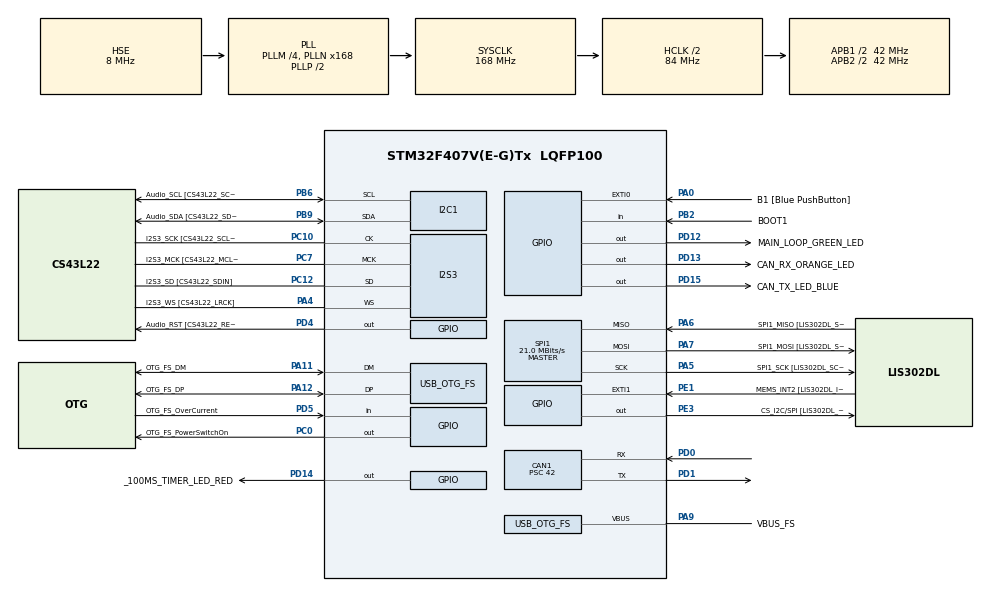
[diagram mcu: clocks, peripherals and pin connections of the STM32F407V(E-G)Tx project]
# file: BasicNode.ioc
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CAN1.BS1=CAN_BS1_3TQ
CAN1.BS2=CAN_BS2_4TQ
CAN1.CalculateBaudRate=125000
CAN1.CalculateTimeBit=8000
CAN1.CalculateTimeQuantum=1000.0
CAN1.Mode=CAN_MODE_NORMAL
CAN1.Prescaler=42
I2S3.AudioFreq=I2S_AUDIOFREQ_48K
I2S3.AudioFreq-Half_Duplex_Master=I2S_AUDIOFREQ_96K
I2S3.ErrorAudioFreq=1.72 %
I2S3.ErrorAudioFreq-Half_Duplex_Master=0.8 %
I2S3.FullDuplexMode=I2S_FULLDUPLEXMODE_DISABLE
I2S3.Instance=SPI$Index
I2S3.RealAudioFreq=48.828 KHz
I2S3.RealAudioFreq-Half_Duplex_Master=96.774 KHz
I2S3.VirtualMode=I2S_MODE_MASTER
Mcu.Family=STM32F4
Mcu.Name=STM32F407V(E-G)Tx
Mcu.Package=LQFP100
NVIC.CAN1_RX0_IRQn=true\:0\:0\:false\:false\:true\:true\:true\:true
NVIC.CAN1_RX1_IRQn=true\:0\:0\:false\:false\:true\:true\:true\:true
NVIC.CAN1_TX_IRQn=true\:0\:0\:false\:false\:true\:true\:true\:true
NVIC.OTG_FS_IRQn=true\:0\:0\:false\:false\:true\:true\:true\:true
NVIC.PriorityGroup=NVIC_PRIORITYGROUP_0
NVIC.TIM7_IRQn=true\:0\:0\:false\:false\:true\:true\:true\:true
PA0-WKUP.GPIO_Label=B1 [Blue PushButton]
PA0-WKUP.GPIO_ModeDefaultEXTI=GPIO_MODE_EVT_RISING
PA0-WKUP.GPIO_PuPd=GPIO_NOPULL
PA0-WKUP.Signal=GPXTI0
PA10.GPIO_Label=OTG_FS_ID
PA10.GPIO_Mode=GPIO_MODE_AF_PP
PA10.GPIO_PuPd=GPIO_NOPULL
PA10.GPIO_Speed=GPIO_SPEED_FREQ_LOW
PA10.Signal=USB_OTG_FS_ID
PA11.GPIO_Label=OTG_FS_DM
PA11.GPIO_Mode=GPIO_MODE_AF_PP
PA11.GPIO_PuPd=GPIO_NOPULL
PA11.GPIO_Speed=GPIO_SPEED_FREQ_LOW
PA11.Mode=Host_Only
PA11.Signal=USB_OTG_FS_DM
PA12.GPIO_Label=OTG_FS_DP
PA12.GPIO_Mode=GPIO_MODE_AF_PP
PA12.GPIO_PuPd=GPIO_NOPULL
PA12.GPIO_Speed=GPIO_SPEED_FREQ_LOW
PA12.Mode=Host_Only
PA12.Signal=USB_OTG_FS_DP
PA13.GPIO_Label=SWDIO
PA13.Mode=Serial_Wire
PA13.Signal=SYS_JTMS-SWDIO
PA14.GPIO_Label=SWCLK
PA14.Mode=Serial_Wire
PA14.Signal=SYS_JTCK-SWCLK
PA4.GPIO_Label=I2S3_WS [CS43L22_LRCK]
PA4.GPIO_Mode=GPIO_MODE_AF_PP
PA4.GPIO_PuPd=GPIO_NOPULL
PA4.GPIO_Speed=GPIO_SPEED_FREQ_LOW
PA4.Mode=Half_Duplex_Master
PA4.Signal=I2S3_WS
PA5.GPIO_Label=SPI1_SCK [LIS302DL_SCL/SPC]
PA5.GPIO_Mode=GPIO_MODE_AF_PP
PA5.GPIO_PuPd=GPIO_NOPULL
PA5.GPIO_Speed=GPIO_SPEED_FREQ_LOW
PA5.Mode=Full_Duplex_Master
PA5.Signal=SPI1_SCK
PA6.GPIO_Label=SPI1_MISO [LIS302DL_SDO]
PA6.GPIO_Mode=GPIO_MODE_AF_PP
PA6.GPIO_PuPd=GPIO_NOPULL
PA6.GPIO_Speed=GPIO_SPEED_FREQ_LOW
PA6.Mode=Full_Duplex_Master
PA6.Signal=SPI1_MISO
PA7.GPIO_Label=SPI1_MOSI [LIS302DL_SDA/SDI/SDO]
PA7.GPIO_Mode=GPIO_MODE_AF_PP
PA7.GPIO_PuPd=GPIO_NOPULL
PA7.GPIO_Speed=GPIO_SPEED_FREQ_LOW
PA7.Mode=Full_Duplex_Master
PA7.Signal=SPI1_MOSI
PA9.GPIO_Label=VBUS_FS
PA9.GPIO_Mode=GPIO_MODE_INPUT
PA9.GPIO_PuPd=GPIO_NOPULL
PA9.Mode=Activate_VBUS
PA9.Signal=USB_OTG_FS_VBUS
PB10.GPIO_Label=CLK_IN [MP45DT02_CLK]
PB10.GPIO_Mode=GPIO_MODE_AF_PP
PB10.GPIO_PuPd=GPIO_NOPULL
PB10.GPIO_Speed=GPIO_SPEED_FREQ_LOW
PB10.Signal=I2S2_CK
PB2.GPIO_Label=BOOT1
PB2.GPIO_Mode=GPIO_MODE_INPUT
PB2.GPIO_PuPd=GPIO_NOPULL
PB2.Signal=GPIO_Input
PB3.GPIO_Label=SWO
PB3.Signal=SYS_JTDO-SWO
PB6.GPIO_Label=Audio_SCL [CS43L22_SCL]
PB6.GPIO_Mode=GPIO_MODE_AF_OD
PB6.GPIO_Pu=GPIO_PULLUP
PB6.GPIO_PuPd=GPIO_NOPULL
PB6.GPIO_Speed=GPIO_SPEED_FREQ_LOW
PB6.Mode=I2C
PB6.Signal=I2C1_SCL
PB9.GPIO_Label=Audio_SDA [CS43L22_SDA]
PB9.GPIO_Mode=GPIO_MODE_AF_OD
PB9.GPIO_Pu=GPIO_PULLUP
PB9.GPIO_PuPd=GPIO_NOPULL
PB9.GPIO_Speed=GPIO_SPEED_FREQ_LOW
PB9.Mode=I2C
PB9.Signal=I2C1_SDA
PC0.GPIO_Label=OTG_FS_PowerSwitchOn
PC0.GPIO_PuPd=GPIO_NOPULL
PC0.GPIO_Speed=GPIO_SPEED_FREQ_LOW
PC0.PinState=GPIO_PIN_SET
PC0.Signal=GPIO_Output
PC10.GPIO_Label=I2S3_SCK [CS43L22_SCLK]
PC10.GPIO_Mode=GPIO_MODE_AF_PP
PC10.GPIO_PuPd=GPIO_NOPULL
PC10.GPIO_Speed=GPIO_SPEED_FREQ_LOW
PC10.Mode=Half_Duplex_Master
PC10.Signal=I2S3_CK
PC12.GPIO_Label=I2S3_SD [CS43L22_SDIN]
PC12.GPIO_Mode=GPIO_MODE_AF_PP
PC12.GPIO_PuPd=GPIO_NOPULL
PC12.GPIO_Speed=GPIO_SPEED_FREQ_LOW
PC12.Mode=Half_Duplex_Master
PC12.Signal=I2S3_SD
PC14-OSC32_IN.GPIO_Label=PC14-OSC32_IN
PC14-OSC32_IN.Mode=LSE-External-Oscillator
PC14-OSC32_IN.Signal=RCC_OSC32_IN
PC15-OSC32_OUT.GPIO_Label=PC15-OSC32_OUT
PC15-OSC32_OUT.Mode=LSE-External-Oscillator
PC15-OSC32_OUT.Signal=RCC_OSC32_OUT
PC3.GPIO_Label=PDM_OUT [MP45DT02_DOUT]
PC3.GPIO_Mode=GPIO_MODE_AF_PP
PC3.GPIO_PuPd=GPIO_NOPULL
PC3.GPIO_Speed=GPIO_SPEED_FREQ_LOW
PC3.Signal=I2S2_SD
PC7.GPIO_Label=I2S3_MCK [CS43L22_MCLK]
PC7.GPIO_Mode=GPIO_MODE_AF_PP
PC7.GPIO_PuPd=GPIO_NOPULL
PC7.GPIO_Speed=GPIO_SPEED_FREQ_LOW
PC7.Mode=Master_Clock_Activated
PC7.Signal=I2S3_MCK
PD0.Mode=CAN_Activate
PD0.Signal=CAN1_RX
PD1.Mode=CAN_Activate
PD1.Signal=CAN1_TX
PD12.GPIO_Label=MAIN_LOOP_GREEN_LED
PD12.GPIO_PuPd=GPIO_NOPULL
PD12.GPIO_Speed=GPIO_SPEED_FREQ_LOW
PD12.Signal=GPIO_Output
PD13.GPIO_Label=CAN_RX_ORANGE_LED
PD13.GPIO_PuPd=GPIO_NOPULL
PD13.GPIO_Speed=GPIO_SPEED_FREQ_LOW
PD13.Signal=GPIO_Output
PD14.GPIO_Label=_100MS_TIMER_LED_RED
PD14.GPIO_PuPd=GPIO_NOPULL
PD14.GPIO_Speed=GPIO_SPEED_FREQ_LOW
PD14.Signal=GPIO_Output
PD15.GPIO_Label=CAN_TX_LED_BLUE
PD15.GPIO_PuPd=GPIO_NOPULL
PD15.GPIO_Speed=GPIO_SPEED_FREQ_LOW
PD15.Signal=GPIO_Output
PD4.GPIO_Label=Audio_RST [CS43L22_RESET]
PD4.GPIO_PuPd=GPIO_NOPULL
PD4.GPIO_Speed=GPIO_SPEED_FREQ_LOW
PD4.Signal=GPIO_Output
PD5.GPIO_Label=OTG_FS_OverCurrent
PD5.GPIO_Mode=GPIO_MODE_INPUT
PD5.GPIO_PuPd=GPIO_NOPULL
PD5.Signal=GPIO_Input
PE1.GPIO_Label=MEMS_INT2 [LIS302DL_INT2]
PE1.GPIO_ModeDefaultEXTI=GPIO_MODE_EVT_RISING
PE1.GPIO_PuPd=GPIO_NOPULL
PE1.Signal=GPXTI1
PE3.GPIO_Label=CS_I2C/SPI [LIS302DL_CS_I2C/SPI]
PE3.GPIO_PuPd=GPIO_NOPULL
PE3.GPIO_Speed=GPIO_SPEED_FREQ_LOW
PE3.Signal=GPIO_Output
PH0-OSC_IN.GPIO_Label=PH0-OSC_IN
PH0-OSC_IN.Mode=HSE-External-Oscillator
PH0-OSC_IN.Signal=RCC_OSC_IN
PH1-OSC_OUT.GPIO_Label=PH1-OSC_OUT
PH1-OSC_OUT.Mode=HSE-External-Oscillator
PH1-OSC_OUT.Signal=RCC_OSC_OUT
ProjectManager.HeapSize=0x200
ProjectManager.StackSize=0x400
ProjectManager.TargetToolchain=STM32CubeIDE
RCC.48MHZClocksFreq_Value=48000000
RCC.AHBCLKDivider=RCC_SYSCLK_DIV2
RCC.AHBFreq_Value=84000000
RCC.APB1CLKDivider=RCC_HCLK_DIV2
RCC.APB1Freq_Value=42000000
RCC.APB1TimFreq_Value=84000000
RCC.APB2CLKDivider=RCC_HCLK_DIV2
RCC.APB2Freq_Value=42000000
RCC.APB2TimFreq_Value=84000000
RCC.CortexFreq_Value=84000000
RCC.HCLKFreq_Value=84000000
RCC.HSE_VALUE=8000000
RCC.HSI_VALUE=16000000
RCC.PLLI2SN=50
RCC.PLLM=4
RCC.PLLN=168
RCC.PLLQ=7
RCC.SYSCLKFreq_VALUE=168000000
RCC.SYSCLKSource=RCC_SYSCLKSOURCE_PLLCLK
RCC.VCOOutputFreq_Value=336000000
SPI1.BaudRatePrescaler-Full_Duplex_Master=SPI_BAUDRATEPRESCALER_2
SPI1.CalculateBaudRate=21.0 MBits/s
SPI1.CalculateBaudRate-Full_Duplex_Master=42.0 MBits/s
SPI1.Direction=SPI_DIRECTION_2LINES
SPI1.Mode=SPI_MODE_MASTER
SPI1.Mode-Full_Duplex_Master=SPI_MODE_MASTER
SPI1.VirtualType=VM_MASTER
TIM7.AutoReloadPreload=TIM_AUTORELOAD_PRELOAD_DISABLE
TIM7.Prescaler=128
USB_HOST.BSP.number=1
USB_HOST.USBH_HandleTypeDef-CDC_FS=hUsbHostFS
USB_HOST.VirtualModeFS=Cdc
USB_HOST0.BSP.STBoard=false
USB_HOST0.BSP.api=Unknown
USB_HOST0.BSP.instance=PC0
USB_HOST0.BSP.ip=GPIO
USB_HOST0.BSP.mode=Output
USB_HOST0.BSP.name=Drive_VBUS_FS
USB_HOST0.BSP.solution=PC0
USB_OTG_FS.VirtualMode=Host_Only
USB_OTG_FS.phy_itface=HCD_PHY_EMBEDDED
VP_TIM7_VS_ClockSourceINT.Mode=Enable_Timer
VP_USB_HOST_VS_USB_HOST_CDC_FS.Mode=CDC_FS
board=STM32F407G-DISC1

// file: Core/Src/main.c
/* USER CODE BEGIN Header */
/**
 ******************************************************************************
 * @file           : main.c
 * @brief          : Main program body
 ******************************************************************************
 * @attention
 *
 * Copyright (c) 2025 STMicroelectronics.
 * All rights reserved.
 *
 * This software is licensed under terms that can be found in the LICENSE file
 * in the root directory of this software component.
 * If no LICENSE file comes with this software, it is provided AS-IS.
 *
 ******************************************************************************
 */
/* USER CODE END Header */
#include "main.h"
#include "usb_host.h"

/* USER CODE BEGIN Includes */

#include "stdio.h"

#include "application_callbacks/callbacks_can.h"
#include "application_callbacks/callbacks_olcb.h"
#include "application_callbacks/callbacks_config_mem.h"
#include "openlcb_user_config.h"
#include "application_drivers/stm32_driverlib_drivers.h"
#include "application_drivers/stm32_driverlib_can_driver.h"

#include "openlcb_c_lib/drivers/canbus/can_config.h"
#include "openlcb_c_lib/openlcb/openlcb_config.h"

#include "debug_tools.h"

/* USER CODE END Includes */

/* USER CODE BEGIN PD */

#define NODE_ID 0x050101010755
#define DELAY_TIME (50000000)

/* USER CODE END PD */

CAN_HandleTypeDef hcan1;

I2C_HandleTypeDef hi2c1;

I2S_HandleTypeDef hi2s3;

SPI_HandleTypeDef hspi1;

TIM_HandleTypeDef htim7;

void SystemClock_Config(void);
static void MX_GPIO_Init(void);
static void MX_CAN1_Init(void);
static void MX_I2C1_Init(void);
static void MX_I2S3_Init(void);
static void MX_SPI1_Init(void);
static void MX_TIM7_Init(void);
void MX_USB_HOST_Process(void);

/* USER CODE BEGIN 0 */

#define LED_ORANGE LD3_Pin
#define LED_ORANGE_GPIO_PORT LD3_GPIO_Port

#define LED_GREEN LD4_Pin
#define LED_GREEN_GPIO_PORT LD4_GPIO_Port

#define LED_RED LD5_Pin
#define LED_RED_GPIO_PORT LD5_GPIO_Port

#define LED_BLUE LD6_Pin
#define LED_BLUE_GPIO_PORT LD6_GPIO_Port

#define CAN_RX_FILTER_ID = 0x00;
#define CAN_RX_FILTER_MASK = 0x00; // All bit are ignored take all IDs

// Send printf to uart1

// int _write(int fd, char *ptr, int len) {
//     HAL_StatusTypeDef hstatus;
//
//     if (fd == 1 || fd == 2) {
//         hstatus = HAL_UART_Transmit(&huart2, (uint8_t*) ptr, len, HAL_MAX_DELAY);
//         if (hstatus == HAL_OK)
//             return len;
//         else
//             return -1;
//     }
//     return -1;
// }

static const can_config_t can_config = {
    .transmit_raw_can_frame  = &STM32_DriverLibCanDriver_transmit_can_frame,
    .is_tx_buffer_clear      = &STM32_DriverLibCanDriver_is_can_tx_buffer_clear,
    .lock_shared_resources   = &STM32_DriverLibDrivers_lock_shared_resources,
    .unlock_shared_resources = &STM32_DriverLibDrivers_unlock_shared_resources,
    .on_rx                   = &CallbacksCan_on_rx,
    .on_tx                   = &CallbacksCan_on_tx,
    .on_alias_change         = &CallbacksCan_on_alias_change,
};

static const openlcb_config_t openlcb_config = {
    .lock_shared_resources   = &STM32_DriverLibDrivers_lock_shared_resources,
    .unlock_shared_resources = &STM32_DriverLibDrivers_unlock_shared_resources,
    .config_mem_read         = &STM32_DriverLibDrivers_config_mem_read,
    .config_mem_write        = &STM32_DriverLibDrivers_config_mem_write,
    .reboot                  = &STM32_DriverLibDrivers_reboot,
    .factory_reset           = &STM32_DriverLibDrivers_config_mem_factory_reset,
    .freeze                  = &CallbacksOlcb_freeze,
    .unfreeze                = &CallbacksOlcb_unfreeze,
    .firmware_write          = &CallbacksOlcb_firmware_write,
    .on_100ms_timer          = &CallbacksOlcb_on_100ms_timer,
};

void ITM_Print(const char *str) {
    while (*str) {
        ITM_SendChar(*str++);
    }
}

/* USER CODE END 0 */

int main(void)
{

  /* MCU Configuration--------------------------------------------------------*/

  /* Reset of all peripherals, Initializes the Flash interface and the Systick. */
  HAL_Init();

  /* Configure the system clock */
  SystemClock_Config();

  /* Initialize all configured peripherals */
  MX_GPIO_Init();
  MX_CAN1_Init();
  MX_I2C1_Init();
  MX_I2S3_Init();
  MX_SPI1_Init();
  MX_USB_HOST_Init();
  MX_TIM7_Init();
  /* USER CODE BEGIN 2 */

  STM32_DriverLibCanDriver_initialize(&hcan1);
  STM32_DriverLibDrivers_initialize(&htim7);

  CanConfig_initialize(&can_config);
  OpenLcbConfig_initialize(&openlcb_config);

  CallbacksOlcb_initialize();

  ITM_Print("Creating Node\n");

  OpenLcbConfig_create_node(NODE_ID, &OpenLcbUserConfig_node_parameters);

  /* USER CODE END 2 */

  /* Infinite loop */
  while (1)
  {
    MX_USB_HOST_Process();

    /* USER CODE BEGIN 3 */

    HAL_GPIO_TogglePin(MAIN_LOOP_GREEN_LED_GPIO_Port, MAIN_LOOP_GREEN_LED_Pin);

    OpenLcbConfig_run();
  }
  /* USER CODE END 3 */
}

void SystemClock_Config(void)
{
  RCC_OscInitTypeDef RCC_OscInitStruct = {0};
  RCC_ClkInitTypeDef RCC_ClkInitStruct = {0};

  /** Configure the main internal regulator output voltage
   */
  __HAL_RCC_PWR_CLK_ENABLE();
  __HAL_PWR_VOLTAGESCALING_CONFIG(PWR_REGULATOR_VOLTAGE_SCALE1);

  /** Initializes the RCC Oscillators according to the specified parameters
   * in the RCC_OscInitTypeDef structure.
   */
  RCC_OscInitStruct.OscillatorType = RCC_OSCILLATORTYPE_HSE;
  RCC_OscInitStruct.HSEState = RCC_HSE_ON;
  RCC_OscInitStruct.PLL.PLLState = RCC_PLL_ON;
  RCC_OscInitStruct.PLL.PLLSource = RCC_PLLSOURCE_HSE;
  RCC_OscInitStruct.PLL.PLLM = 4;
  RCC_OscInitStruct.PLL.PLLN = 168;
  RCC_OscInitStruct.PLL.PLLP = RCC_PLLP_DIV2;
  RCC_OscInitStruct.PLL.PLLQ = 7;
  if (HAL_RCC_OscConfig(&RCC_OscInitStruct) != HAL_OK)
  {
    Error_Handler();
  }

  /** Initializes the CPU, AHB and APB buses clocks
   */
  RCC_ClkInitStruct.ClockType = RCC_CLOCKTYPE_HCLK | RCC_CLOCKTYPE_SYSCLK | RCC_CLOCKTYPE_PCLK1 | RCC_CLOCKTYPE_PCLK2;
  RCC_ClkInitStruct.SYSCLKSource = RCC_SYSCLKSOURCE_PLLCLK;
  RCC_ClkInitStruct.AHBCLKDivider = RCC_SYSCLK_DIV2;
  RCC_ClkInitStruct.APB1CLKDivider = RCC_HCLK_DIV2;
  RCC_ClkInitStruct.APB2CLKDivider = RCC_HCLK_DIV2;

  if (HAL_RCC_ClockConfig(&RCC_ClkInitStruct, FLASH_LATENCY_2) != HAL_OK)
  {
    Error_Handler();
  }
}

static void MX_CAN1_Init(void)
{

  hcan1.Instance = CAN1;
  hcan1.Init.Prescaler = 42;
  hcan1.Init.Mode = CAN_MODE_NORMAL;
  hcan1.Init.SyncJumpWidth = CAN_SJW_1TQ;
  hcan1.Init.TimeSeg1 = CAN_BS1_3TQ;
  hcan1.Init.TimeSeg2 = CAN_BS2_4TQ;
  hcan1.Init.TimeTriggeredMode = DISABLE;
  hcan1.Init.AutoBusOff = DISABLE;
  hcan1.Init.AutoWakeUp = DISABLE;
  hcan1.Init.AutoRetransmission = DISABLE;
  hcan1.Init.ReceiveFifoLocked = DISABLE;
  hcan1.Init.TransmitFifoPriority = DISABLE;
  if (HAL_CAN_Init(&hcan1) != HAL_OK)
  {
    Error_Handler();
  }
}

static void MX_I2C1_Init(void)
{

  hi2c1.Instance = I2C1;
  hi2c1.Init.ClockSpeed = 100000;
  hi2c1.Init.DutyCycle = I2C_DUTYCYCLE_2;
  hi2c1.Init.OwnAddress1 = 0;
  hi2c1.Init.AddressingMode = I2C_ADDRESSINGMODE_7BIT;
  hi2c1.Init.DualAddressMode = I2C_DUALADDRESS_DISABLE;
  hi2c1.Init.OwnAddress2 = 0;
  hi2c1.Init.GeneralCallMode = I2C_GENERALCALL_DISABLE;
  hi2c1.Init.NoStretchMode = I2C_NOSTRETCH_DISABLE;
  if (HAL_I2C_Init(&hi2c1) != HAL_OK)
  {
    Error_Handler();
  }
}

static void MX_I2S3_Init(void)
{

  hi2s3.Instance = SPI3;
  hi2s3.Init.Mode = I2S_MODE_MASTER_TX;
  hi2s3.Init.Standard = I2S_STANDARD_PHILIPS;
  hi2s3.Init.DataFormat = I2S_DATAFORMAT_16B;
  hi2s3.Init.MCLKOutput = I2S_MCLKOUTPUT_ENABLE;
  hi2s3.Init.AudioFreq = I2S_AUDIOFREQ_48K;
  hi2s3.Init.CPOL = I2S_CPOL_LOW;
  hi2s3.Init.ClockSource = I2S_CLOCK_PLL;
  hi2s3.Init.FullDuplexMode = I2S_FULLDUPLEXMODE_DISABLE;
  if (HAL_I2S_Init(&hi2s3) != HAL_OK)
  {
    Error_Handler();
  }
}

static void MX_SPI1_Init(void)
{

  /* SPI1 parameter configuration*/
  hspi1.Instance = SPI1;
  hspi1.Init.Mode = SPI_MODE_MASTER;
  hspi1.Init.Direction = SPI_DIRECTION_2LINES;
  hspi1.Init.DataSize = SPI_DATASIZE_8BIT;
  hspi1.Init.CLKPolarity = SPI_POLARITY_LOW;
  hspi1.Init.CLKPhase = SPI_PHASE_1EDGE;
  hspi1.Init.NSS = SPI_NSS_SOFT;
  hspi1.Init.BaudRatePrescaler = SPI_BAUDRATEPRESCALER_2;
  hspi1.Init.FirstBit = SPI_FIRSTBIT_MSB;
  hspi1.Init.TIMode = SPI_TIMODE_DISABLE;
  hspi1.Init.CRCCalculation = SPI_CRCCALCULATION_DISABLE;
  hspi1.Init.CRCPolynomial = 10;
  if (HAL_SPI_Init(&hspi1) != HAL_OK)
  {
    Error_Handler();
  }
}

static void MX_TIM7_Init(void)
{

  TIM_MasterConfigTypeDef sMasterConfig = {0};

  htim7.Instance = TIM7;
  htim7.Init.Prescaler = 128;
  htim7.Init.CounterMode = TIM_COUNTERMODE_UP;
  htim7.Init.Period = 65535;
  htim7.Init.AutoReloadPreload = TIM_AUTORELOAD_PRELOAD_DISABLE;
  if (HAL_TIM_Base_Init(&htim7) != HAL_OK)
  {
    Error_Handler();
  }
  sMasterConfig.MasterOutputTrigger = TIM_TRGO_RESET;
  sMasterConfig.MasterSlaveMode = TIM_MASTERSLAVEMODE_DISABLE;
  if (HAL_TIMEx_MasterConfigSynchronization(&htim7, &sMasterConfig) != HAL_OK)
  {
    Error_Handler();
  }
}

static void MX_GPIO_Init(void)
{
  GPIO_InitTypeDef GPIO_InitStruct = {0};

  /* GPIO Ports Clock Enable */
  __HAL_RCC_GPIOE_CLK_ENABLE();
  __HAL_RCC_GPIOC_CLK_ENABLE();
  __HAL_RCC_GPIOH_CLK_ENABLE();
  __HAL_RCC_GPIOA_CLK_ENABLE();
  __HAL_RCC_GPIOB_CLK_ENABLE();
  __HAL_RCC_GPIOD_CLK_ENABLE();

  /*Configure GPIO pin Output Level */
  HAL_GPIO_WritePin(CS_I2C_SPI_GPIO_Port, CS_I2C_SPI_Pin, GPIO_PIN_RESET);

  /*Configure GPIO pin Output Level */
  HAL_GPIO_WritePin(OTG_FS_PowerSwitchOn_GPIO_Port, OTG_FS_PowerSwitchOn_Pin, GPIO_PIN_SET);

  /*Configure GPIO pin Output Level */
  HAL_GPIO_WritePin(GPIOD, MAIN_LOOP_GREEN_LED_Pin | CAN_RX_ORANGE_LED_Pin | _100MS_TIMER_LED_RED_Pin | CAN_TX_LED_BLUE_Pin | Audio_RST_Pin, GPIO_PIN_RESET);

  /*Configure GPIO pin : CS_I2C_SPI_Pin */
  GPIO_InitStruct.Pin = CS_I2C_SPI_Pin;
  GPIO_InitStruct.Mode = GPIO_MODE_OUTPUT_PP;
  GPIO_InitStruct.Pull = GPIO_NOPULL;
  GPIO_InitStruct.Speed = GPIO_SPEED_FREQ_LOW;
  HAL_GPIO_Init(CS_I2C_SPI_GPIO_Port, &GPIO_InitStruct);

  /*Configure GPIO pin : OTG_FS_PowerSwitchOn_Pin */
  GPIO_InitStruct.Pin = OTG_FS_PowerSwitchOn_Pin;
  GPIO_InitStruct.Mode = GPIO_MODE_OUTPUT_PP;
  GPIO_InitStruct.Pull = GPIO_NOPULL;
  GPIO_InitStruct.Speed = GPIO_SPEED_FREQ_LOW;
  HAL_GPIO_Init(OTG_FS_PowerSwitchOn_GPIO_Port, &GPIO_InitStruct);

  /*Configure GPIO pin : PDM_OUT_Pin */
  GPIO_InitStruct.Pin = PDM_OUT_Pin;
  GPIO_InitStruct.Mode = GPIO_MODE_AF_PP;
  GPIO_InitStruct.Pull = GPIO_NOPULL;
  GPIO_InitStruct.Speed = GPIO_SPEED_FREQ_LOW;
  GPIO_InitStruct.Alternate = GPIO_AF5_SPI2;
  HAL_GPIO_Init(PDM_OUT_GPIO_Port, &GPIO_InitStruct);

  /*Configure GPIO pin : B1_Pin */
  GPIO_InitStruct.Pin = B1_Pin;
  GPIO_InitStruct.Mode = GPIO_MODE_EVT_RISING;
  GPIO_InitStruct.Pull = GPIO_NOPULL;
  HAL_GPIO_Init(B1_GPIO_Port, &GPIO_InitStruct);

  /*Configure GPIO pin : BOOT1_Pin */
  GPIO_InitStruct.Pin = BOOT1_Pin;
  GPIO_InitStruct.Mode = GPIO_MODE_INPUT;
  GPIO_InitStruct.Pull = GPIO_NOPULL;
  HAL_GPIO_Init(BOOT1_GPIO_Port, &GPIO_InitStruct);

  /*Configure GPIO pin : CLK_IN_Pin */
  GPIO_InitStruct.Pin = CLK_IN_Pin;
  GPIO_InitStruct.Mode = GPIO_MODE_AF_PP;
  GPIO_InitStruct.Pull = GPIO_NOPULL;
  GPIO_InitStruct.Speed = GPIO_SPEED_FREQ_LOW;
  GPIO_InitStruct.Alternate = GPIO_AF5_SPI2;
  HAL_GPIO_Init(CLK_IN_GPIO_Port, &GPIO_InitStruct);

  /*Configure GPIO pins : MAIN_LOOP_GREEN_LED_Pin CAN_RX_ORANGE_LED_Pin _100MS_TIMER_LED_RED_Pin CAN_TX_LED_BLUE_Pin
                           Audio_RST_Pin */
  GPIO_InitStruct.Pin = MAIN_LOOP_GREEN_LED_Pin | CAN_RX_ORANGE_LED_Pin | _100MS_TIMER_LED_RED_Pin | CAN_TX_LED_BLUE_Pin | Audio_RST_Pin;
  GPIO_InitStruct.Mode = GPIO_MODE_OUTPUT_PP;
  GPIO_InitStruct.Pull = GPIO_NOPULL;
  GPIO_InitStruct.Speed = GPIO_SPEED_FREQ_LOW;
  HAL_GPIO_Init(GPIOD, &GPIO_InitStruct);

  /*Configure GPIO pin : OTG_FS_OverCurrent_Pin */
  GPIO_InitStruct.Pin = OTG_FS_OverCurrent_Pin;
  GPIO_InitStruct.Mode = GPIO_MODE_INPUT;
  GPIO_InitStruct.Pull = GPIO_NOPULL;
  HAL_GPIO_Init(OTG_FS_OverCurrent_GPIO_Port, &GPIO_InitStruct);

  /*Configure GPIO pin : MEMS_INT2_Pin */
  GPIO_InitStruct.Pin = MEMS_INT2_Pin;
  GPIO_InitStruct.Mode = GPIO_MODE_EVT_RISING;
  GPIO_InitStruct.Pull = GPIO_NOPULL;
  HAL_GPIO_Init(MEMS_INT2_GPIO_Port, &GPIO_InitStruct);

}

void Error_Handler(void)
{
  __disable_irq();
  while (1)
  {
  }
}
